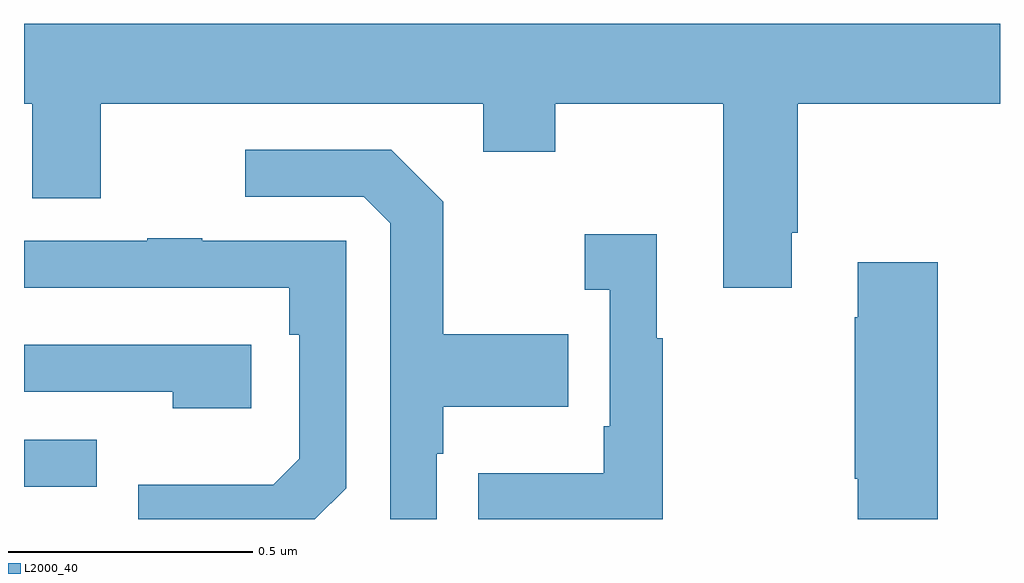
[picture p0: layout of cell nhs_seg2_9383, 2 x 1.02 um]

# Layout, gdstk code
import gdstk
lib = gdstk.Library(unit=1e-6, precision=1e-09)
def R(c, l, rs):  # rectangles x0, y0, x1, y1
    for r in rs: c.add(gdstk.rectangle(r[:2], r[2:], *l))
def P(c, l, *ps):  # polygons
    for p in ps: c.add(gdstk.Polygon(p, *l))
L2000_40 = (2000, 40)

nhs_seg2_9383 = lib.new_cell('nhs_seg2_9383')
R(nhs_seg2_9383, L2000_40, [(228,630.867,228.149,630.963)])
P(nhs_seg2_9383, L2000_40, [(229.573,631.387),(229.586,631.387),(229.586,631.652),(230,631.652),(230,631.816),(228,631.816),(228,631.652),(228.017,631.652),(228.017,631.458),(228.157,631.458),(228.157,631.652),(228.941,631.652),(228.941,631.553),(229.089,631.553),(229.089,631.652),(229.433,631.652),(229.433,631.275),(229.573,631.275)],
  [(228.846,630.935),(228.859,630.935),(228.859,631.031),(229.115,631.031),(229.115,631.179),(228.859,631.179),(228.859,631.451),(228.753,631.557),(228.453,631.557),(228.453,631.461),(228.696,631.461),(228.75,631.407),(228.75,630.8),(228.846,630.8)],
  [(229.309,631.171),(229.297,631.171),(229.297,631.384),(229.149,631.384),(229.149,631.271),(229.2,631.271),(229.2,630.991),(229.188,630.991),(229.188,630.895),(228.931,630.895),(228.931,630.8),(229.309,630.8)],
  [(228.66,630.864),(228.66,631.371),(228.365,631.371),(228.365,631.376),(228.253,631.376),(228.253,631.371),(228,631.371),(228,631.275),(228.544,631.275),(228.544,631.178),(228.564,631.178),(228.564,630.924),(228.511,630.871),(228.234,630.871),(228.234,630.8),(228.596,630.8)],
  [(229.872,631.327),(229.709,631.327),(229.709,631.214),(229.702,631.214),(229.702,630.883),(229.709,630.883),(229.709,630.8),(229.872,630.8)],
  [(228.466,631.158),(228,631.158),(228,631.062),(228.305,631.062),(228.305,631.028),(228.466,631.028)])

lib.write_gds('nhs_seg2_9383.gds')
